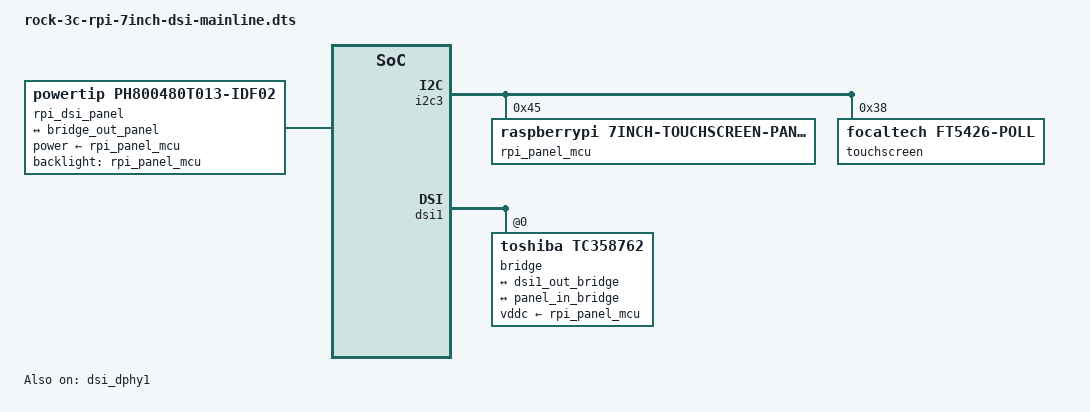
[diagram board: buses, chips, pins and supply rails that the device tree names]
// SPDX-License-Identifier: GPL-2.0-only
/*
 * Raspberry Pi 7" DSI touchscreen clone on the Radxa ROCK 3C, mainline kernel.
 *
 * VOP2 vp1 -> dsi1 (+ dsi_dphy1) -> TC358762 bridge -> panel-simple
 * "powertip,ph800480t013-idf02". The panel MCU at i2c3 0x45
 * (rpi-panel-attiny-regulator) powers the bridge and drives the backlight; the
 * FT5426 touch at 0x38 has no IRQ line and uses ft5426_poll.
 *
 * vcc_mipi must stay on: when the kernel switches off unused regulators the
 * panel MCU loses power otherwise.
 *
 * The in-tree tc358762 driver needs the burst-mode patch in tc358762/, or the
 * picture is shifted sideways and wraps around.
 *
 * Tested on Linux 6.18.62 (NixOS 26.05).
 */
/dts-v1/;
/plugin/;

/ {
  compatible = "radxa,rock-3c";
};

&{/} {
  rpi_dsi_panel: panel-rpi-dsi {
    compatible = "powertip,ph800480t013-idf02";
    power-supply = <&rpi_panel_mcu>;
    backlight = <&rpi_panel_mcu>;

    port {
      panel_in_bridge: endpoint {
        remote-endpoint = <&bridge_out_panel>;
      };
    };
  };
};

&vcc_mipi {
  regulator-always-on;
  regulator-boot-on;
};

&i2c3 {
  pinctrl-names = "default";
  pinctrl-0 = <&i2c3m1_xfer>;
  #address-cells = <1>;
  #size-cells = <0>;
  status = "okay";

  rpi_panel_mcu: regulator@45 {
    compatible = "raspberrypi,7inch-touchscreen-panel-regulator";
    reg = <0x45>;
  };

  touchscreen@38 {
    compatible = "focaltech,ft5426-poll";
    reg = <0x38>;
  };
};

&dsi_dphy1 {
  status = "okay";
};

&dsi1 {
  #address-cells = <1>;
  #size-cells = <0>;
  status = "okay";

  bridge@0 {
    compatible = "toshiba,tc358762";
    reg = <0>;
    vddc-supply = <&rpi_panel_mcu>;

    ports {
      #address-cells = <1>;
      #size-cells = <0>;

      port@0 {
        reg = <0>;
        bridge_in_dsi: endpoint {
          remote-endpoint = <&dsi1_out_bridge>;
        };
      };

      port@1 {
        reg = <1>;
        bridge_out_panel: endpoint {
          remote-endpoint = <&panel_in_bridge>;
        };
      };
    };
  };
};

&dsi1_in {
  dsi1_in_vp1: endpoint {
    remote-endpoint = <&vp1_out_dsi1>;
  };
};

&dsi1_out {
  dsi1_out_bridge: endpoint {
    remote-endpoint = <&bridge_in_dsi>;
  };
};

/* reg 6 = ROCKCHIP_VOP2_EP_MIPI1 (dt-bindings/soc/rockchip,vop2.h) */
&vp1 {
  #address-cells = <1>;
  #size-cells = <0>;

  vp1_out_dsi1: endpoint@6 {
    reg = <6>;
    remote-endpoint = <&dsi1_in_vp1>;
  };
};
